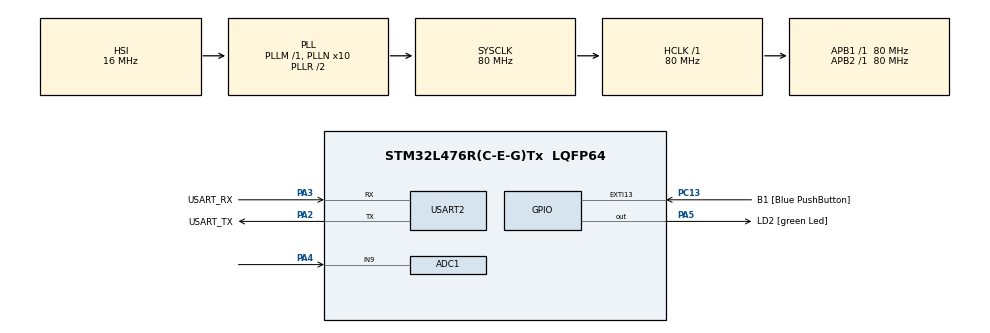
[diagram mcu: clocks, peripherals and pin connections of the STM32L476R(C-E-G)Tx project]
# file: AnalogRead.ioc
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ADC1.Channel-3\#ChannelRegularConversion=ADC_CHANNEL_9
ADC1.ClockPrescaler=ADC_CLOCK_ASYNC_DIV1
ADC1.NbrOfConversionFlag=1
ADC1.OffsetNumber-3\#ChannelRegularConversion=ADC_OFFSET_NONE
ADC1.Rank-3\#ChannelRegularConversion=1
ADC1.SamplingTime-3\#ChannelRegularConversion=ADC_SAMPLETIME_247CYCLES_5
ADC1.master=1
Mcu.Family=STM32L4
Mcu.Name=STM32L476R(C-E-G)Tx
Mcu.Package=LQFP64
NVIC.PriorityGroup=NVIC_PRIORITYGROUP_4
PA13\ (JTMS-SWDIO).GPIO_Label=TMS
PA13\ (JTMS-SWDIO).Mode=Serial_Wire
PA13\ (JTMS-SWDIO).Signal=SYS_JTMS-SWDIO
PA14\ (JTCK-SWCLK).GPIO_Label=TCK
PA14\ (JTCK-SWCLK).Mode=Serial_Wire
PA14\ (JTCK-SWCLK).Signal=SYS_JTCK-SWCLK
PA2.GPIO_Label=USART_TX
PA2.GPIO_Mode=GPIO_MODE_AF_PP
PA2.GPIO_PuPd=GPIO_NOPULL
PA2.GPIO_Speed=GPIO_SPEED_FREQ_VERY_HIGH
PA2.Mode=Asynchronous
PA2.Signal=USART2_TX
PA3.GPIO_Label=USART_RX
PA3.GPIO_Mode=GPIO_MODE_AF_PP
PA3.GPIO_PuPd=GPIO_NOPULL
PA3.GPIO_Speed=GPIO_SPEED_FREQ_VERY_HIGH
PA3.Mode=Asynchronous
PA3.Signal=USART2_RX
PA4.Signal=ADCx_IN9
PA5.GPIO_Label=LD2 [green Led]
PA5.GPIO_ModeDefaultOutputPP=GPIO_MODE_OUTPUT_PP
PA5.GPIO_PuPd=GPIO_NOPULL
PA5.GPIO_Speed=GPIO_SPEED_FREQ_LOW
PA5.Signal=GPIO_Output
PB3\ (JTDO-TRACESWO).GPIO_Label=SWO
PB3\ (JTDO-TRACESWO).Signal=SYS_JTDO-SWO
PC13.GPIO_Label=B1 [Blue PushButton]
PC13.GPIO_ModeDefaultEXTI=GPIO_MODE_IT_FALLING
PC13.GPIO_PuPd=GPIO_NOPULL
PC13.Signal=GPXTI13
PC14-OSC32_IN\ (PC14).Mode=LSE-External-Oscillator
PC14-OSC32_IN\ (PC14).Signal=RCC_OSC32_IN
PC15-OSC32_OUT\ (PC15).Mode=LSE-External-Oscillator
PC15-OSC32_OUT\ (PC15).Signal=RCC_OSC32_OUT
PH0-OSC_IN\ (PH0).Signal=RCC_OSC_IN
PH1-OSC_OUT\ (PH1).Signal=RCC_OSC_OUT
ProjectManager.HeapSize=0x200
ProjectManager.StackSize=0x400
ProjectManager.TargetToolchain=STM32CubeIDE
RCC.ADCFreq_Value=64000000
RCC.AHBFreq_Value=80000000
RCC.APB1Freq_Value=80000000
RCC.APB1TimFreq_Value=80000000
RCC.APB2Freq_Value=80000000
RCC.APB2TimFreq_Value=80000000
RCC.CortexFreq_Value=80000000
RCC.HCLKFreq_Value=80000000
RCC.HSE_VALUE=8000000
RCC.HSI_VALUE=16000000
RCC.MSI_VALUE=4000000
RCC.PLLN=10
RCC.PLLSourceVirtual=RCC_PLLSOURCE_HSI
RCC.PREFETCH_ENABLE=1
RCC.SYSCLKFreq_VALUE=80000000
RCC.SYSCLKSource=RCC_SYSCLKSOURCE_PLLCLK
RCC.USBFreq_Value=64000000
RCC.VCOOutputFreq_Value=160000000
SH.ADCx_IN9.0=ADC1_IN9,IN9-Single-Ended
USART2.VirtualMode-Asynchronous=VM_ASYNC
board=NUCLEO-L476RG

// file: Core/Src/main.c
/* USER CODE BEGIN Header */
/**
  ******************************************************************************
  * @file           : main.c
  * @brief          : Main program body
  ******************************************************************************
  * @attention
  *
  * Copyright (c) 2024 STMicroelectronics.
  * All rights reserved.
  *
  * This software is licensed under terms that can be found in the LICENSE file
  * in the root directory of this software component.
  * If no LICENSE file comes with this software, it is provided AS-IS.
  *
  ******************************************************************************
  */
/* USER CODE END Header */
#include "main.h"

/* USER CODE BEGIN Includes */
#include <string.h>
#include<stdio.h>
/* USER CODE END Includes */

ADC_HandleTypeDef hadc1;

UART_HandleTypeDef huart2;

void SystemClock_Config(void);
static void MX_GPIO_Init(void);
static void MX_USART2_UART_Init(void);
static void MX_ADC1_Init(void);

int main(void)
{

  /* MCU Configuration--------------------------------------------------------*/

  /* Reset of all peripherals, Initializes the Flash interface and the Systick. */
  HAL_Init();

  /* Configure the system clock */
  SystemClock_Config();

  /* Initialize all configured peripherals */
  MX_GPIO_Init();
  MX_USART2_UART_Init();
  MX_ADC1_Init();
  /* USER CODE BEGIN 2 */
  //HAL_ADCEx_Calibration_Start(&hadc1, ADC_SINGLE_ENDED);
  //HAL_ADC_Start_DMA(&hadc1,(uint32_t*)&value_adc,1);
  /* USER CODE END 2 */

  /* Infinite loop */
  while (1)
  {

    /* USER CODE BEGIN 3 */
	  HAL_GPIO_WritePin(LD2_GPIO_Port,LD2_Pin, GPIO_PIN_SET);
	  uint16_t value_adc = 0;

	      value_adc+=1;
	      HAL_ADC_Start(&hadc1);
	      HAL_ADC_PollForConversion(&hadc1, HAL_MAX_DELAY);
	      value_adc=HAL_ADC_GetValue(&hadc1);

		  HAL_GPIO_WritePin(LD2_GPIO_Port,LD2_Pin, GPIO_PIN_RESET);
		  HAL_ADC_Stop(&hadc1);
		  char buffer[20];
		  	  int ent = (value_adc*5.069/4095);
		  	  int dec = ((value_adc*5.069*1000/4095)-(ent*1000))/10;
		  	  int length = sprintf(buffer, "%d.%02d V\r\n",ent, dec );
		  	  //int length = sprintf(buffer, "%hu\r\n", value_adc);
		  	      HAL_UART_Transmit(&huart2, (uint8_t*)buffer, length, HAL_MAX_DELAY);
	  HAL_Delay(1000);

  }
  /* USER CODE END 3 */
}

void SystemClock_Config(void)
{
  RCC_OscInitTypeDef RCC_OscInitStruct = {0};
  RCC_ClkInitTypeDef RCC_ClkInitStruct = {0};

  /** Configure the main internal regulator output voltage
  */
  if (HAL_PWREx_ControlVoltageScaling(PWR_REGULATOR_VOLTAGE_SCALE1) != HAL_OK)
  {
    Error_Handler();
  }

  /** Initializes the RCC Oscillators according to the specified parameters
  * in the RCC_OscInitTypeDef structure.
  */
  RCC_OscInitStruct.OscillatorType = RCC_OSCILLATORTYPE_HSI;
  RCC_OscInitStruct.HSIState = RCC_HSI_ON;
  RCC_OscInitStruct.HSICalibrationValue = RCC_HSICALIBRATION_DEFAULT;
  RCC_OscInitStruct.PLL.PLLState = RCC_PLL_ON;
  RCC_OscInitStruct.PLL.PLLSource = RCC_PLLSOURCE_HSI;
  RCC_OscInitStruct.PLL.PLLM = 1;
  RCC_OscInitStruct.PLL.PLLN = 10;
  RCC_OscInitStruct.PLL.PLLP = RCC_PLLP_DIV7;
  RCC_OscInitStruct.PLL.PLLQ = RCC_PLLQ_DIV2;
  RCC_OscInitStruct.PLL.PLLR = RCC_PLLR_DIV2;
  if (HAL_RCC_OscConfig(&RCC_OscInitStruct) != HAL_OK)
  {
    Error_Handler();
  }

  /** Initializes the CPU, AHB and APB buses clocks
  */
  RCC_ClkInitStruct.ClockType = RCC_CLOCKTYPE_HCLK|RCC_CLOCKTYPE_SYSCLK
                              |RCC_CLOCKTYPE_PCLK1|RCC_CLOCKTYPE_PCLK2;
  RCC_ClkInitStruct.SYSCLKSource = RCC_SYSCLKSOURCE_PLLCLK;
  RCC_ClkInitStruct.AHBCLKDivider = RCC_SYSCLK_DIV1;
  RCC_ClkInitStruct.APB1CLKDivider = RCC_HCLK_DIV1;
  RCC_ClkInitStruct.APB2CLKDivider = RCC_HCLK_DIV1;

  if (HAL_RCC_ClockConfig(&RCC_ClkInitStruct, FLASH_LATENCY_4) != HAL_OK)
  {
    Error_Handler();
  }
}

static void MX_ADC1_Init(void)
{

  ADC_MultiModeTypeDef multimode = {0};
  ADC_ChannelConfTypeDef sConfig = {0};

  /** Common config
  */
  hadc1.Instance = ADC1;
  hadc1.Init.ClockPrescaler = ADC_CLOCK_ASYNC_DIV1;
  hadc1.Init.Resolution = ADC_RESOLUTION_12B;
  hadc1.Init.DataAlign = ADC_DATAALIGN_RIGHT;
  hadc1.Init.ScanConvMode = ADC_SCAN_DISABLE;
  hadc1.Init.EOCSelection = ADC_EOC_SINGLE_CONV;
  hadc1.Init.LowPowerAutoWait = DISABLE;
  hadc1.Init.ContinuousConvMode = DISABLE;
  hadc1.Init.NbrOfConversion = 1;
  hadc1.Init.DiscontinuousConvMode = DISABLE;
  hadc1.Init.ExternalTrigConv = ADC_SOFTWARE_START;
  hadc1.Init.ExternalTrigConvEdge = ADC_EXTERNALTRIGCONVEDGE_NONE;
  hadc1.Init.DMAContinuousRequests = DISABLE;
  hadc1.Init.Overrun = ADC_OVR_DATA_PRESERVED;
  hadc1.Init.OversamplingMode = DISABLE;
  if (HAL_ADC_Init(&hadc1) != HAL_OK)
  {
    Error_Handler();
  }

  /** Configure the ADC multi-mode
  */
  multimode.Mode = ADC_MODE_INDEPENDENT;
  if (HAL_ADCEx_MultiModeConfigChannel(&hadc1, &multimode) != HAL_OK)
  {
    Error_Handler();
  }

  /** Configure Regular Channel
  */
  sConfig.Channel = ADC_CHANNEL_9;
  sConfig.Rank = ADC_REGULAR_RANK_1;
  sConfig.SamplingTime = ADC_SAMPLETIME_247CYCLES_5;
  sConfig.SingleDiff = ADC_SINGLE_ENDED;
  sConfig.OffsetNumber = ADC_OFFSET_NONE;
  sConfig.Offset = 0;
  if (HAL_ADC_ConfigChannel(&hadc1, &sConfig) != HAL_OK)
  {
    Error_Handler();
  }

}

static void MX_USART2_UART_Init(void)
{

  huart2.Instance = USART2;
  huart2.Init.BaudRate = 115200;
  huart2.Init.WordLength = UART_WORDLENGTH_8B;
  huart2.Init.StopBits = UART_STOPBITS_1;
  huart2.Init.Parity = UART_PARITY_NONE;
  huart2.Init.Mode = UART_MODE_TX_RX;
  huart2.Init.HwFlowCtl = UART_HWCONTROL_NONE;
  huart2.Init.OverSampling = UART_OVERSAMPLING_16;
  huart2.Init.OneBitSampling = UART_ONE_BIT_SAMPLE_DISABLE;
  huart2.AdvancedInit.AdvFeatureInit = UART_ADVFEATURE_NO_INIT;
  if (HAL_UART_Init(&huart2) != HAL_OK)
  {
    Error_Handler();
  }

}

static void MX_GPIO_Init(void)
{
  GPIO_InitTypeDef GPIO_InitStruct = {0};

  /* GPIO Ports Clock Enable */
  __HAL_RCC_GPIOC_CLK_ENABLE();
  __HAL_RCC_GPIOH_CLK_ENABLE();
  __HAL_RCC_GPIOA_CLK_ENABLE();
  __HAL_RCC_GPIOB_CLK_ENABLE();

  /*Configure GPIO pin Output Level */
  HAL_GPIO_WritePin(LD2_GPIO_Port, LD2_Pin, GPIO_PIN_RESET);

  /*Configure GPIO pin : B1_Pin */
  GPIO_InitStruct.Pin = B1_Pin;
  GPIO_InitStruct.Mode = GPIO_MODE_IT_FALLING;
  GPIO_InitStruct.Pull = GPIO_NOPULL;
  HAL_GPIO_Init(B1_GPIO_Port, &GPIO_InitStruct);

  /*Configure GPIO pin : LD2_Pin */
  GPIO_InitStruct.Pin = LD2_Pin;
  GPIO_InitStruct.Mode = GPIO_MODE_OUTPUT_PP;
  GPIO_InitStruct.Pull = GPIO_NOPULL;
  GPIO_InitStruct.Speed = GPIO_SPEED_FREQ_LOW;
  HAL_GPIO_Init(LD2_GPIO_Port, &GPIO_InitStruct);

}

void Error_Handler(void)
{
  __disable_irq();
  while (1)
  {
  }
}
